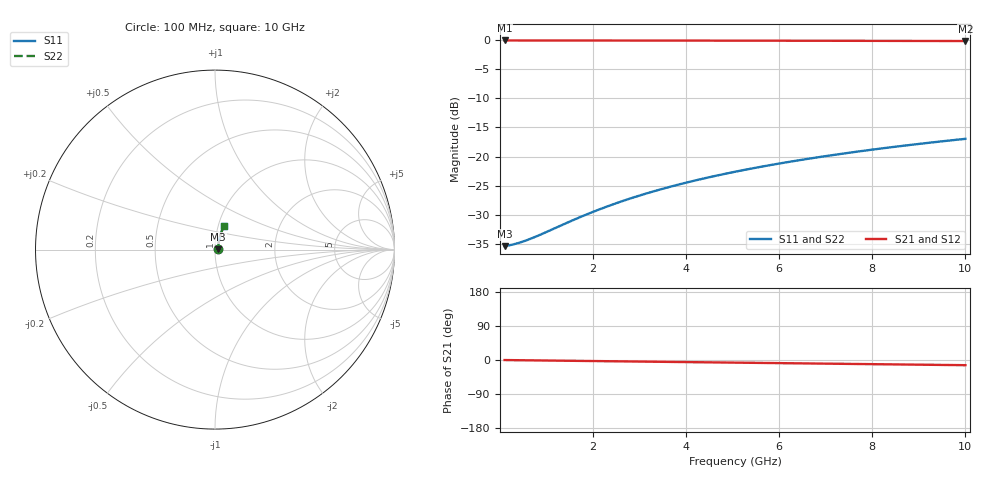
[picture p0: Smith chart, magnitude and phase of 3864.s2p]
# Hz S RI R 50.00
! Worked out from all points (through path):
!   100 points, 100 MHz to 10 GHz, reference 50 ohm
!   highest |S21| = -0.15 dB at 100 MHz (marker M1); lowest = -0.3 dB at 10 GHz (marker M2)
!   group delay of S21, straight-line fit = 3.8 ps
!   lowest |S11| = -35.3 dB at 100 MHz (marker M3), VSWR 1.03, Z = 51.7 + j0.144 ohm
!   |S11| at or under -10 dB: start of sweep to end of sweep
!   |S22| runs from -35.3 to -17.0 dB; largest |S21 - S12| = 0
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1e8  0.0171 0.00139  0.9829 -0.00236  0.9829 -0.00236  0.0171 0.00139
3e8  0.0173 0.00417  0.9827 -0.00709  0.9827 -0.00709  0.0173 0.00417
4e8  0.0174 0.00556  0.9826 -0.00945  0.9826 -0.00945  0.0174 0.00556
6e8  0.0176 0.00833  0.9824 -0.0142  0.9824 -0.0142  0.0176 0.00833
9e8  0.0178 0.0125  0.9821 -0.0213  0.9821 -0.0213  0.0178 0.0125
1.5e9  0.0185 0.0208  0.9814 -0.0354  0.9814 -0.0354  0.0185 0.0208
1.8e9  0.0189 0.0249  0.9809 -0.0425  0.9809 -0.0425  0.0189 0.0249
2.2e9  0.0195 0.0304  0.9802 -0.0519  0.9802 -0.0519  0.0195 0.0304
2.6e9  0.0202 0.0359  0.9794 -0.0613  0.9794 -0.0613  0.0202 0.0359
3e9  0.021 0.0414  0.9785 -0.0707  0.9785 -0.0707  0.021 0.0414
3.4e9  0.022 0.0469  0.9775 -0.08  0.9775 -0.08  0.022 0.0469
3.8e9  0.023 0.0523  0.9763 -0.0894  0.9763 -0.0894  0.023 0.0523
4.2e9  0.0241 0.0577  0.975 -0.0987  0.975 -0.0987  0.0241 0.0577
4.6e9  0.0253 0.0631  0.9737 -0.108  0.9737 -0.108  0.0253 0.0631
5.1e9  0.027 0.0698  0.9718 -0.1195  0.9718 -0.1195  0.027 0.0698
5.5e9  0.0284 0.0751  0.9701 -0.1288  0.9701 -0.1288  0.0284 0.0751
5.9e9  0.0299 0.0804  0.9683 -0.138  0.9683 -0.138  0.0299 0.0804
6.7e9  0.0333 0.0909  0.9645 -0.1562  0.9645 -0.1562  0.0333 0.0909
7.5e9  0.0371 0.1012  0.9602 -0.1744  0.9602 -0.1744  0.0371 0.1012
8.4e9  0.0417 0.1126  0.9548 -0.1946  0.9548 -0.1946  0.0417 0.1126
9.2e9  0.0463 0.1225  0.9495 -0.2123  0.9495 -0.2123  0.0463 0.1225
1e10  0.0512 0.1323  0.9439 -0.2299  0.9439 -0.2299  0.0512 0.1323
